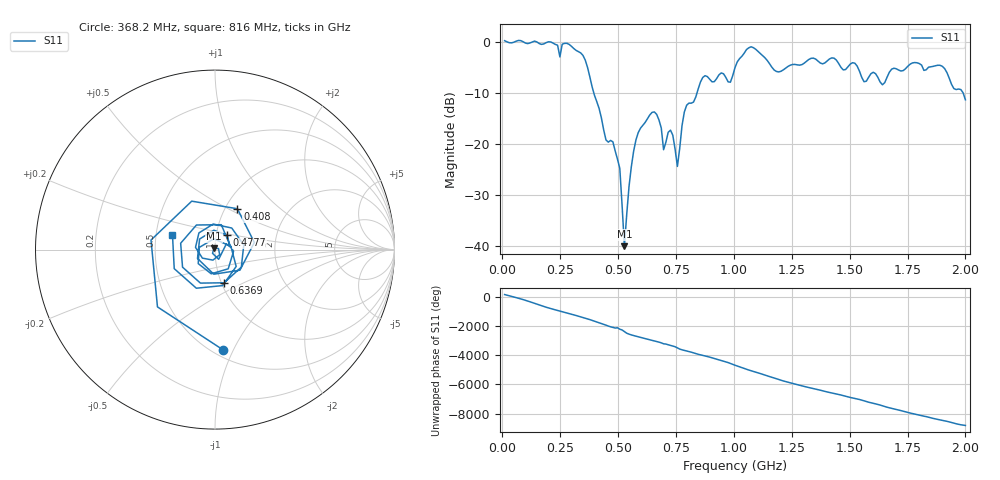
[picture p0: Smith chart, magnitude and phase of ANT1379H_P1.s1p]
!Created with skrf (http://scikit-rf.org).
# Hz S RI R 50.0
!freq ReS11 ImS11
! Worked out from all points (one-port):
!   201 points, 10 MHz to 2 GHz, reference 50 ohm
!   lowest |S11| = -40.0 dB at 527.4 MHz (marker M1), VSWR 1.02, Z = 49.4 + j0.824 ohm
!   |S11| at or under -10 dB: 395.1 MHz to 841 MHz (445.9 MHz wide, 72.1 % of centre); 1.990165 GHz to end of sweep
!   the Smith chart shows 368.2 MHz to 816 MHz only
!   S11 on the Smith chart (normalised r, x): 368.2 MHz: 0.56, -0.91; 408 MHz: 1.14, +0.56; 477.6 MHz: 1.13, +0.18; 636.9 MHz: 1.03, -0.40; 816 MHz: 0.61, +0.11
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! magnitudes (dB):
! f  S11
! 10 MHz  0.2
! 248.8 MHz  -3.0
! 258.8 MHz  -0.5
! 368.2 MHz  -5.0
! 408 MHz  -11.7
! 447.8 MHz  -19.2
! 477.6 MHz  -19.6
! 507.5 MHz  -24.8
! 527.4 MHz  -40.0
! 567.2 MHz  -21.4
! 636.9 MHz  -14.3
! 676.6 MHz  -15.3
! 696.5 MHz  -21.1
! 726.4 MHz  -17.3
! 756.2 MHz  -24.4
! 786.1 MHz  -13.8
! 816 MHz  -12.0
! 865.7 MHz  -7.0
! 985.1 MHz  -7.9
! 1.005 GHz  -5.1
! 1.075 GHz  -1.0
! 1.184 GHz  -5.8
! 1.254 GHz  -4.5
! 1.502 GHz  -4.4
! 1.642 GHz  -8.4
! 1.751 GHz  -4.8
! 1.901 GHz  -4.8
! 2 GHz  -11.4
